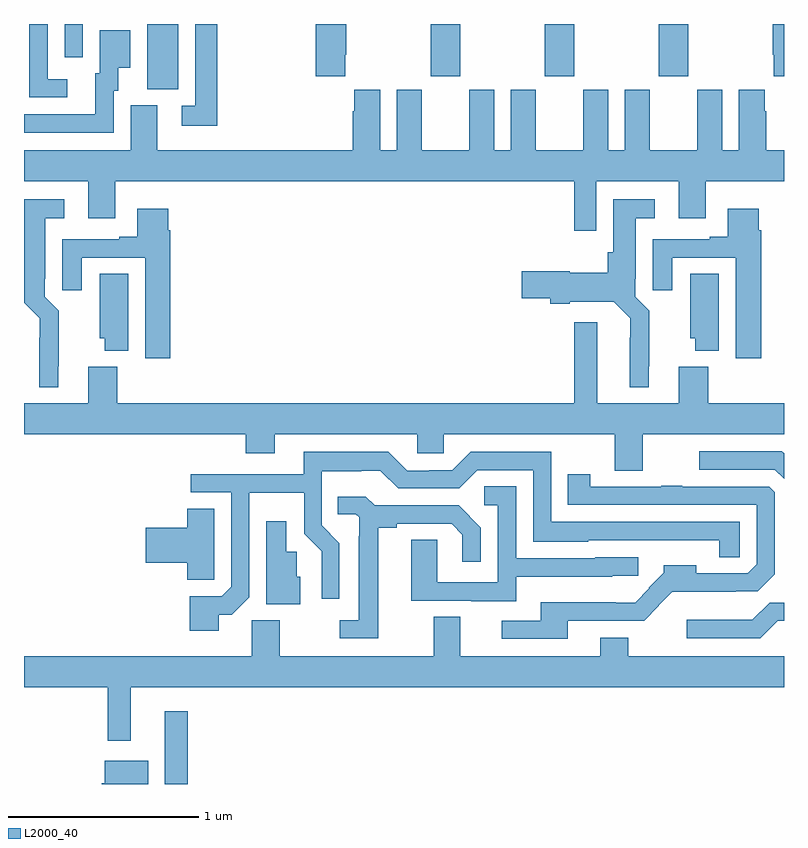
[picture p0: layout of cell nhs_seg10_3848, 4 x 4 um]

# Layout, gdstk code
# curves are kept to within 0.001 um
import gdstk
lib = gdstk.Library(unit=1e-6, precision=1e-09)
def R(c, l, rs):  # rectangles x0, y0, x1, y1
    for r in rs: c.add(gdstk.rectangle(r[:2], r[2:], *l))
def A(c, l, x, y, w, h, nx, ny, dx, dy):  # array of equal rectangles
    R(c, l, [(x+i*dx, y+j*dy, x+i*dx+w, y+j*dy+h) for i in range(nx) for j in range(ny)])
def P(c, l, *ps):  # polygons
    for p in ps: c.add(gdstk.Polygon(p, *l))
L2000_40 = (2000, 40)

nhs_seg10_3848 = lib.new_cell('nhs_seg10_3848')
A(nhs_seg10_3848, L2000_40, 325.141, 1278.225, 0.155, 0.275, 3, 1, 0.6, 0)
R(nhs_seg10_3848, L2000_40, [(323.741,1274.5,323.863,1274.884), (323.648,1278.157,323.812,1278.5), (323.214,1278.324,323.31,1278.5)])
P(nhs_seg10_3848, L2000_40, [(323.227,1278.21),(323.124,1278.21),(323.124,1278.5),(323.028,1278.5),(323.028,1278.114),(323.227,1278.114)],
  [(324.017,1278.5),(323.901,1278.5),(323.901,1278.069),(323.829,1278.069),(323.829,1277.964),(324.017,1277.964)],
  [(324.691,1278.337),(324.696,1278.337),(324.696,1278.5),(324.536,1278.5),(324.536,1278.225),(324.691,1278.225)],
  [(327,1278.5),(326.941,1278.5),(326.941,1278.337),(326.945,1278.337),(326.945,1278.225),(327,1278.225)],
  [(323.472,1278.15),(323.497,1278.15),(323.497,1278.269),(323.56,1278.269),(323.56,1278.466),(323.399,1278.466),(323.399,1278.24),(323.375,1278.24),(323.375,1278.024),(323,1278.024),(323,1277.928),(323.472,1277.928)],
  [(326.013,1277.672),(326.447,1277.672),(326.447,1277.478),(326.587,1277.478),(326.587,1277.672),(327,1277.672),(327,1277.836),(326.906,1277.836),(326.906,1278.041),(326.899,1278.041),(326.899,1278.154),(326.762,1278.154),(326.762,1277.836),(326.674,1277.836),(326.674,1278.154),(326.543,1278.154),(326.543,1277.836),(326.293,1277.836),(326.293,1278.154),(326.162,1278.154),(326.162,1277.836),(326.074,1277.836),(326.074,1278.154),(325.943,1278.154),(325.943,1277.836),(325.693,1277.836),(325.693,1278.154),(325.562,1278.154),(325.562,1277.836),(325.474,1277.836),(325.474,1278.154),(325.343,1278.154),(325.343,1277.836),(325.093,1277.836),(325.093,1278.154),(324.962,1278.154),(324.962,1277.836),(324.874,1277.836),(324.874,1278.154),(324.737,1278.154),(324.737,1278.041),(324.731,1278.041),(324.731,1277.836),(323.701,1277.836),(323.701,1278.072),(323.561,1278.072),(323.561,1277.836),(323,1277.836),(323,1277.672),(323.339,1277.672),(323.339,1277.478),(323.479,1277.478),(323.479,1277.672),(325.897,1277.672),(325.897,1277.412),(326.013,1277.412)],
  [(326.287,1276.699),(326.291,1276.699),(326.291,1276.99),(326.217,1277.064),(326.217,1277.158),(326.221,1277.158),(326.221,1277.477),(326.32,1277.477),(326.32,1277.578),(326.102,1277.578),(326.102,1277.298),(326.072,1277.298),(326.072,1277.191),(325.873,1277.191),(325.873,1277.199),(325.62,1277.199),(325.62,1277.057),(325.769,1277.057),(325.769,1277.027),(325.873,1277.027),(325.873,1277.039),(326.103,1277.039),(326.19,1276.952),(326.189,1276.589),(326.287,1276.589)],
  [(323.179,1276.699),(323.183,1276.699),(323.183,1276.99),(323.109,1277.064),(323.109,1277.158),(323.113,1277.158),(323.113,1277.477),(323.212,1277.477),(323.212,1277.578),(323,1277.578),(323,1277.034),(323.082,1276.952),(323.081,1276.589),(323.179,1276.589)],
  [(323.771,1277.414),(323.758,1277.414),(323.758,1277.527),(323.597,1277.527),(323.597,1277.38),(323.501,1277.38),(323.501,1277.367),(323.201,1277.367),(323.201,1277.1),(323.305,1277.1),(323.305,1277.271),(323.639,1277.271),(323.639,1276.74),(323.771,1276.74)],
  [(326.879,1277.414),(326.866,1277.414),(326.866,1277.527),(326.705,1277.527),(326.705,1277.38),(326.609,1277.38),(326.609,1277.367),(326.309,1277.367),(326.309,1277.1),(326.413,1277.1),(326.413,1277.271),(326.747,1277.271),(326.747,1276.74),(326.879,1276.74)],
  [(323.548,1277.186),(323.399,1277.186),(323.399,1276.845),(323.426,1276.845),(323.426,1276.781),(323.548,1276.781)],
  [(326.656,1277.186),(326.507,1277.186),(326.507,1276.845),(326.534,1276.845),(326.534,1276.781),(326.656,1276.781)],
  [(326.257,1276.34),(327,1276.34),(327,1276.504),(326.6,1276.504),(326.6,1276.696),(326.447,1276.696),(326.447,1276.504),(326.017,1276.504),(326.017,1276.93),(325.895,1276.93),(325.895,1276.504),(323.492,1276.504),(323.492,1276.696),(323.339,1276.696),(323.339,1276.504),(323,1276.504),(323,1276.34),(324.167,1276.34),(324.167,1276.241),(324.319,1276.241),(324.319,1276.34),(325.071,1276.34),(325.071,1276.242),(325.209,1276.242),(325.209,1276.34),(326.11,1276.34),(326.11,1276.15),(326.257,1276.15)],
  [(327,1276.24),(326.989,1276.251),(326.553,1276.251),(326.553,1276.155),(326.952,1276.155),(327,1276.107)],
  [(324.025,1275.391),(324.093,1275.391),(324.186,1275.483),(324.186,1276.034),(324.474,1276.034),(324.474,1275.818),(324.566,1275.726),(324.566,1275.474),(324.66,1275.474),(324.66,1275.768),(324.567,1275.861),(324.567,1276.145),(324.776,1276.145),(324.776,1276.149),(324.876,1276.149),(324.969,1276.056),(325.29,1276.056),(325.386,1276.152),(325.68,1276.152),(325.68,1275.776),(325.971,1275.776),(325.971,1275.783),(326.658,1275.782),(326.658,1275.694),(326.766,1275.694),(326.766,1275.879),(325.776,1275.879),(325.776,1276.248),(325.35,1276.248),(325.254,1276.152),(325.134,1276.152),(325.134,1276.149),(325.017,1276.149),(324.917,1276.249),(324.473,1276.249),(324.473,1276.131),(323.877,1276.131),(323.877,1276.035),(324.09,1276.035),(324.09,1275.537),(324.042,1275.489),(323.873,1275.489),(323.873,1275.306),(324.025,1275.306)],
  [(325.861,1275.36),(326.265,1275.36),(326.341,1275.437),(326.339,1275.439),(326.413,1275.513),(326.747,1275.512),(326.747,1275.514),(326.863,1275.514),(326.952,1275.603),(326.952,1276.035),(326.922,1276.065),(326.465,1276.065),(326.465,1276.07),(326.353,1276.07),(326.353,1276.065),(325.98,1276.065),(325.98,1276.129),(325.861,1276.129),(325.861,1275.969),(326.856,1275.969),(326.856,1275.657),(326.808,1275.609),(326.539,1275.609),(326.539,1275.652),(326.368,1275.652),(326.368,1275.613),(326.289,1275.534),(326.292,1275.531),(326.216,1275.455),(326.114,1275.455),(326.114,1275.457),(325.721,1275.457),(325.721,1275.36),(325.515,1275.36),(325.515,1275.264),(325.861,1275.264)],
  [(325.591,1275.59),(326.097,1275.59),(326.097,1275.597),(326.232,1275.597),(326.232,1275.693),(326.007,1275.693),(326.007,1275.687),(325.59,1275.687),(325.59,1276.067),(325.422,1276.067),(325.422,1275.966),(325.494,1275.966),(325.494,1275.561),(325.176,1275.561),(325.176,1275.785),(325.037,1275.785),(325.037,1275.465),(325.355,1275.465),(325.355,1275.461),(325.591,1275.461)],
  [(324.865,1275.85),(324.961,1275.85),(324.961,1275.87),(325.25,1275.87),(325.307,1275.813),(325.307,1275.669),(325.404,1275.669),(325.404,1275.85),(325.288,1275.966),(324.846,1275.966),(324.798,1276.013),(324.652,1276.013),(324.652,1275.921),(324.747,1275.921),(324.765,1275.903),(324.765,1275.803),(324.761,1275.803),(324.761,1275.363),(324.663,1275.363),(324.663,1275.267),(324.865,1275.267)],
  [(324,1275.682),(324.001,1275.682),(324.001,1275.95),(323.858,1275.95),(323.858,1275.848),(323.64,1275.848),(323.64,1275.665),(323.858,1275.665),(323.858,1275.574),(324,1275.574)],
  [(324.454,1275.591),(324.435,1275.591),(324.435,1275.723),(324.379,1275.723),(324.379,1275.883),(324.275,1275.883),(324.275,1275.446),(324.454,1275.446)],
  [(326.967,1275.36),(327,1275.36),(327,1275.455),(326.924,1275.455),(326.833,1275.364),(326.487,1275.364),(326.487,1275.267),(326.874,1275.267)],
  [(323.563,1275.008),(327,1275.008),(327,1275.172),(326.181,1275.172),(326.181,1275.271),(326.033,1275.271),(326.033,1275.172),(325.297,1275.172),(325.297,1275.38),(325.157,1275.38),(325.157,1275.172),(324.345,1275.172),(324.345,1275.361),(324.198,1275.361),(324.198,1275.172),(323,1275.172),(323,1275.008),(323.442,1275.008),(323.442,1274.727),(323.563,1274.727)],
  [(323.653,1274.623),(323.426,1274.623),(323.426,1274.505),(323.408,1274.505),(323.408,1274.5),(323.653,1274.5)])

lib.write_gds('nhs_seg10_3848.gds')
